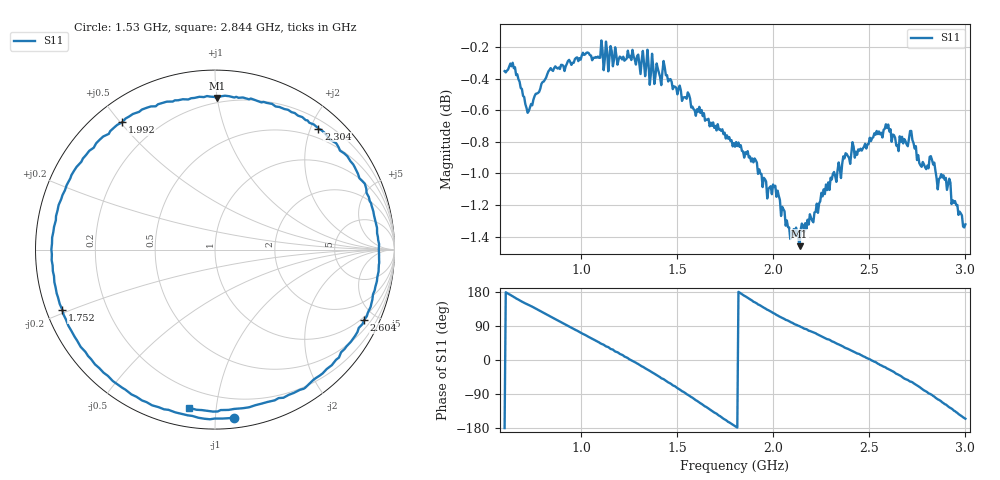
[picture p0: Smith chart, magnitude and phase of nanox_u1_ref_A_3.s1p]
! nanovna_capture.py 2026-10-18T19:27:20+0900
! NanoVNA-F_V2 fw 0.6.0 SN 4A3639384505514B
! cal: load open short cal'ed  over 600000000-3000000000 Hz, 201 points
! points 401, avg 4
! genuine Nano X u1, position A (behind left button), tip touching shell, placement 3
# HZ S RI R 50
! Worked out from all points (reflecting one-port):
!   401 points, 600 MHz to 3 GHz, reference 50 ohm
!   lowest |S11| = -1.5 dB at 2.136 GHz (marker M1), VSWR 11.92, Z = 8.43 + j49.8 ohm
!   phase of S11 starts at -180 deg and turns -695 deg over the sweep
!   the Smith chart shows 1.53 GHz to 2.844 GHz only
!   S11 on the Smith chart (normalised r, x): 1.53 GHz: 0.07, -1.11; 1.752 GHz: 0.05, -0.19; 1.992 GHz: 0.08, +0.51; 2.304 GHz: 0.34, +2.13; 2.604 GHz: 0.86, -4.31; 2.844 GHz: 0.10, -0.84
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6e8  -0.9604 -0.0067
6.54e8  -0.9286 0.2558
7.5e8  -0.7104 0.6166
9e8  -0.1345 0.9554
1.038e9  0.4738 0.8501
1.116e9  0.7333 0.6213
1.2e9  0.9326 0.2695
1.266e9  0.9746 -0.042
1.332e9  0.8885 -0.3553
1.422e9  0.6246 -0.7293
1.5e9  0.2568 -0.9087
1.53e9  0.1038 -0.9363
1.626e9  -0.4064 -0.8405
1.752e9  -0.8506 -0.3353
1.8e9  -0.9046 -0.0877
1.878e9  -0.8497 0.3039
1.992e9  -0.5161 0.7101
2.1e9  -0.1156 0.8449
2.136e9  0.00945 0.8451
2.304e9  0.5765 0.6745
2.4e9  0.8048 0.3974
2.514e9  0.9141 -0.028
2.604e9  0.8315 -0.3914
2.7e9  0.55 -0.724
2.778e9  0.1913 -0.8782
2.844e9  -0.1453 -0.8811
2.91e9  -0.4687 -0.75
3e9  -0.7783 -0.363
